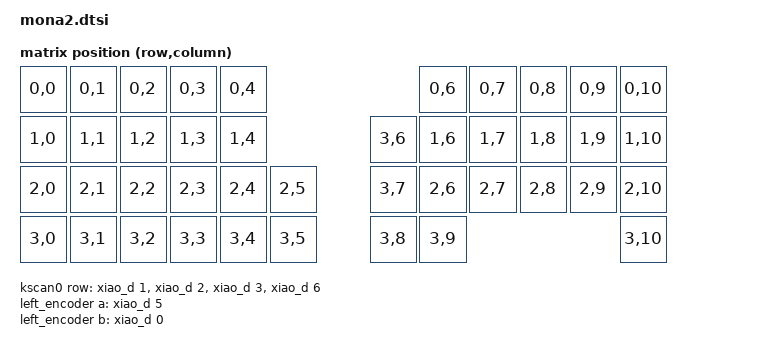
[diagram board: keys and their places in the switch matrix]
#include <dt-bindings/zmk/matrix_transform.h>
#include <input/processors.dtsi>
#include <dt-bindings/zmk/input_transform.h>
#include <physical_layouts.dtsi>

/ {
    chosen {
        zmk,physical-layout = &physical_layout0;
    };

    physical_layout0: physical_layout_0 {
        compatible = "zmk,physical-layout";
        display-name = "default_layout";

        kscan = <&kscan0>;
        transform = <&default_transform>;

        keys  //                     w   h    x    y     rot    rx    ry
            = <&key_physical_attrs 100 100    0    0       0     0     0>
            , <&key_physical_attrs 100 100  100    0       0     0     0>
            , <&key_physical_attrs 100 100  200    0       0     0     0>
            , <&key_physical_attrs 100 100  300    0       0     0     0>
            , <&key_physical_attrs 100 100  400    0       0     0     0>
            , <&key_physical_attrs 100 100  800    0       0     0     0>
            , <&key_physical_attrs 100 100  900    0       0     0     0>
            , <&key_physical_attrs 100 100 1000    0       0     0     0>
            , <&key_physical_attrs 100 100 1100    0       0     0     0>
            , <&key_physical_attrs 100 100 1200    0       0     0     0>
            , <&key_physical_attrs 100 100    0  100       0     0     0>
            , <&key_physical_attrs 100 100  100  100       0     0     0>
            , <&key_physical_attrs 100 100  200  100       0     0     0>
            , <&key_physical_attrs 100 100  300  100       0     0     0>
            , <&key_physical_attrs 100 100  400  100       0     0     0>
            , <&key_physical_attrs 100 100  700  100       0     0     0>
            , <&key_physical_attrs 100 100  800  100       0     0     0>
            , <&key_physical_attrs 100 100  900  100       0     0     0>
            , <&key_physical_attrs 100 100 1000  100       0     0     0>
            , <&key_physical_attrs 100 100 1100  100       0     0     0>
            , <&key_physical_attrs 100 100 1200  100       0     0     0>
            , <&key_physical_attrs 100 100    0  200       0     0     0>
            , <&key_physical_attrs 100 100  100  200       0     0     0>
            , <&key_physical_attrs 100 100  200  200       0     0     0>
            , <&key_physical_attrs 100 100  300  200       0     0     0>
            , <&key_physical_attrs 100 100  400  200       0     0     0>
            , <&key_physical_attrs 100 100  500  200       0     0     0>
            , <&key_physical_attrs 100 100  700  200       0     0     0>
            , <&key_physical_attrs 100 100  800  200       0     0     0>
            , <&key_physical_attrs 100 100  900  200       0     0     0>
            , <&key_physical_attrs 100 100 1000  200       0     0     0>
            , <&key_physical_attrs 100 100 1100  200       0     0     0>
            , <&key_physical_attrs 100 100 1200  200       0     0     0>
            , <&key_physical_attrs 100 100    0  300       0     0     0>
            , <&key_physical_attrs 100 100  100  300       0     0     0>
            , <&key_physical_attrs 100 100  200  300       0     0     0>
            , <&key_physical_attrs 100 100  300  300       0     0     0>
            , <&key_physical_attrs 100 100  400  300       0     0     0>
            , <&key_physical_attrs 100 100  500  300       0     0     0>
            , <&key_physical_attrs 100 100  700  300       0     0     0>
            , <&key_physical_attrs 100 100  800  300       0     0     0>
            , <&key_physical_attrs 100 100 1200  300       0     0     0>
            ;
    };

    default_transform: keymap_transform_0 {
        compatible = "zmk,matrix-transform";
        columns = <11>;
        rows = <4>;               
        map = <
            RC(0,0) RC(0,1) RC(0,2) RC(0,3) RC(0,4)                     RC(0,6) RC(0,7) RC(0,8) RC(0,9) RC(0,10)
            RC(1,0) RC(1,1) RC(1,2) RC(1,3) RC(1,4)             RC(3,6) RC(1,6) RC(1,7) RC(1,8) RC(1,9) RC(1,10)
            RC(2,0) RC(2,1) RC(2,2) RC(2,3) RC(2,4) RC(2,5)     RC(3,7) RC(2,6) RC(2,7) RC(2,8) RC(2,9) RC(2,10)
            RC(3,0) RC(3,1) RC(3,2) RC(3,3) RC(3,4) RC(3,5)     RC(3,8) RC(3,9)                         RC(3,10)         
        >;
    };
    
    kscan0: kscan {
        compatible = "zmk,kscan-gpio-matrix";
        label = "KSCAN";
        diode-direction = "col2row";
            row-gpios
                = <&xiao_d 1 (GPIO_ACTIVE_HIGH | GPIO_PULL_DOWN)> 
                , <&xiao_d 2 (GPIO_ACTIVE_HIGH | GPIO_PULL_DOWN)> 
                , <&xiao_d 3 (GPIO_ACTIVE_HIGH | GPIO_PULL_DOWN)> 
                , <&xiao_d 6 (GPIO_ACTIVE_HIGH | GPIO_PULL_DOWN)> 			
                ;
    };

    //right hand trackball
    trackball_central_listener: trackball_central_listener {
        compatible = "zmk,input-listener";
        status = "disabled";
        input-processors = 
            <&zip_xy_transform INPUT_TRANSFORM_Y_INVERT>;         //Y軸反転
            //<&zip_xy_transform INPUT_TRANSFORM_XY_SWAP>,        //X軸とY軸の入れ替え
            //<&zip_xy_transform INPUT_TRANSFORM_X_INVERT>,       //X軸反転
            <&zip_temp_layer 5 500>;                            //オートマウスレイヤーの選択
    };

    left_encoder: encoder_left {
        compatible = "alps,ec11";
        a-gpios = <&xiao_d 5 (GPIO_ACTIVE_HIGH | GPIO_PULL_UP)>;
        b-gpios = <&xiao_d 0 (GPIO_ACTIVE_HIGH | GPIO_PULL_UP)>;
        steps = <24>;
        status = "disabled";
    };

    right_encoder: encoder_right {
        status = "disabled";
    };

    sensors: sensors {
        compatible = "zmk,keymap-sensors";
        sensors = <&left_encoder &right_encoder>;
        triggers-per-rotation = <10>;
    };

};
